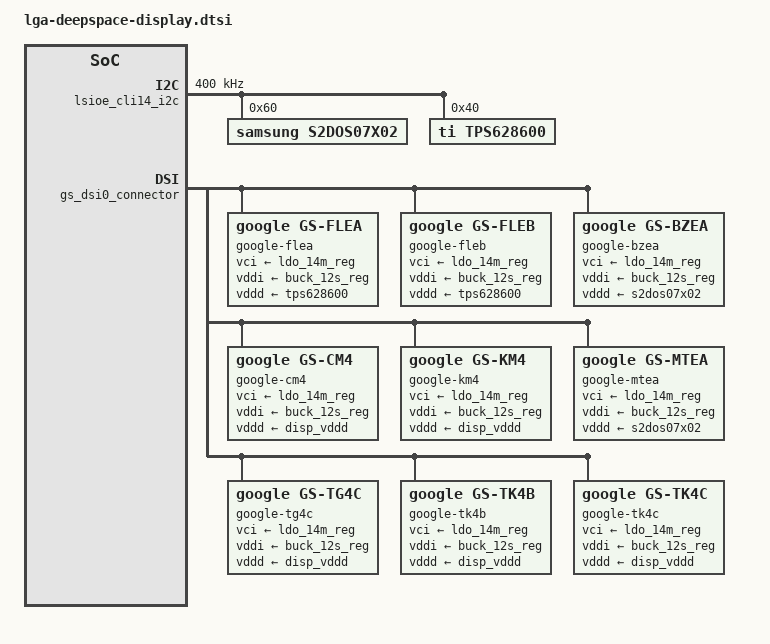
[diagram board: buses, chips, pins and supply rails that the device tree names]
// SPDX-License-Identifier: GPL-2.0-only

#include <dt-bindings/gpio/gpio.h>

&disp_vddd {
	status = "okay";
	gpio = <PMICS2DISP0_BUCK_EN(GPIO_ACTIVE_HIGH)>;
};

&lsioe_cli14_i2c {
	status = "okay";
	#address-cells = <1>;
	#size-cells = <0>;
	clock-frequency = <400000>;
	s2dos07x02: s2dos07x02@60 {
		compatible = "samsung,s2dos07x02";
		reg = <0x60>;
		status = "okay";
		regulator-name = "s2dos07x02-pmic";
	};
	tps628600: tps628600@40 {
		compatible = "ti,tps628600";
		reg = <0x40>;
		status = "okay";
		regulator-name = "tps628600-reg";
		enable-gpios = <PMICS2DISP0_BUCK_EN(GPIO_ACTIVE_HIGH)>;
	};
};

&gs_dsi0_connector {
	google,preferred-panel = <&google_gs_km4>;

	google_gs_flea: panel-gs-flea {
		compatible = "google,gs-flea";
		label = "google-flea";
		channel = <0>;

		/* reset, power */
		reset-gpios = <PMICS2DISP0_RESET_L(GPIO_ACTIVE_HIGH)>;
		vci-supply = <&ldo_14m_reg>;
		vddi-supply = <&buck_12s_reg>;
		vddd-supply = <&tps628600>;
		vddd-normal-microvolt = <1062500>;
		vddd-lp-microvolt     = <1000000>;

		/* touch */
		touch = <&spitouch>;
	};

	google_gs_fleb: panel-gs-fleb {
		compatible = "google,gs-fleb";
		label = "google-fleb";
		channel = <0>;

		/* reset, power */
		reset-gpios = <PMICS2DISP0_RESET_L(GPIO_ACTIVE_HIGH)>;
		vci-supply = <&ldo_14m_reg>;
		vddi-supply = <&buck_12s_reg>;
		vddd-supply = <&tps628600>;
		vddd-normal-microvolt = <1112500>;
		vddd-lp-microvolt     = <1062500>;

		/* touch */
		touch = <&spitouch>;
	};

	google_gs_bzea: panel-gs-bzea {
		compatible = "google,gs-bzea";
		label = "google-bzea";
		channel = <0>;

		/* reset, power */
		reset-gpios = <PMICS2DISP0_RESET_L(GPIO_ACTIVE_HIGH)>;
		vci-supply = <&ldo_14m_reg>;
		vddi-supply = <&buck_12s_reg>;
		vddd-supply = <&s2dos07x02>;
		vddd-normal-microvolt = <912500>;
		vddd-lp-microvolt     = <862500>;

		/* touch */
		touch = <&spitouch>;
	};
	google_gs_cm4: panel-gs-cm4 {
		compatible = "google,gs-cm4";
		label = "google-cm4";
		channel = <0>;

		/* reset, power */
		reset-gpios = <PMICS2DISP0_RESET_L(GPIO_ACTIVE_HIGH)>;
		vci-supply = <&ldo_14m_reg>;
		vddi-supply = <&buck_12s_reg>;
		vddd-supply = <&disp_vddd>;

		/* touch */
		touch = <&spitouch>;
	};
	google_gs_km4: panel-gs-km4 {
		compatible = "google,gs-km4";
		label = "google-km4";
		channel = <0>;

		/* reset, power */
		reset-gpios = <PMICS2DISP0_RESET_L(GPIO_ACTIVE_HIGH)>;
		vci-supply = <&ldo_14m_reg>;
		vddi-supply = <&buck_12s_reg>;
		vddd-supply = <&disp_vddd>;

		/* touch */
		touch = <&spitouch>;
	};
	google_gs_mtea: panel-gs-mtea {
		compatible = "google,gs-mtea";
		label = "google-mtea";
		channel = <0>;

		/* reset, power */
		reset-gpios = <PMICS2DISP0_RESET_L(GPIO_ACTIVE_HIGH)>;
		vci-supply = <&ldo_14m_reg>;
		vddi-supply = <&buck_12s_reg>;
		vddd-supply = <&s2dos07x02>;
		vddd-normal-microvolt = <912500>;
		vddd-lp-microvolt     = <862500>;

		/* touch */
		touch = <&spitouch>;
	};
	google_gs_tg4c: panel-gs-tg4c {

		compatible = "google,gs-tg4c";
		label = "google-tg4c";
		channel = <0>;

		/* reset, power */
		reset-gpios = <PMICS2DISP0_RESET_L(GPIO_ACTIVE_HIGH)>;
		vci-supply = <&ldo_14m_reg>;
		vddi-supply = <&buck_12s_reg>;
		vddd-supply = <&disp_vddd>;

		/* touch */
		touch = <&spitouch>;
	};
	google_gs_tk4b: panel-gs-tk4b {

		compatible = "google,gs-tk4b";
		label = "google-tk4b";
		channel = <0>;

		/* reset, power */
		reset-gpios = <PMICS2DISP0_RESET_L(GPIO_ACTIVE_HIGH)>;
		vci-supply = <&ldo_14m_reg>;
		vddi-supply = <&buck_12s_reg>;
		vddd-supply = <&disp_vddd>;

		/* touch */
		touch = <&spitouch>;
	};
	google_gs_tk4c: panel-gs-tk4c {

		compatible = "google,gs-tk4c";
		label = "google-tk4c";
		channel = <0>;

		/* reset, power */
		reset-gpios = <PMICS2DISP0_RESET_L(GPIO_ACTIVE_HIGH)>;
		vci-supply = <&ldo_14m_reg>;
		vddi-supply = <&buck_12s_reg>;
		vddd-supply = <&disp_vddd>;

		/* touch */
		touch = <&spitouch>;
	};

};

&dsi2h0 {
	datarate = <1368>;
};
